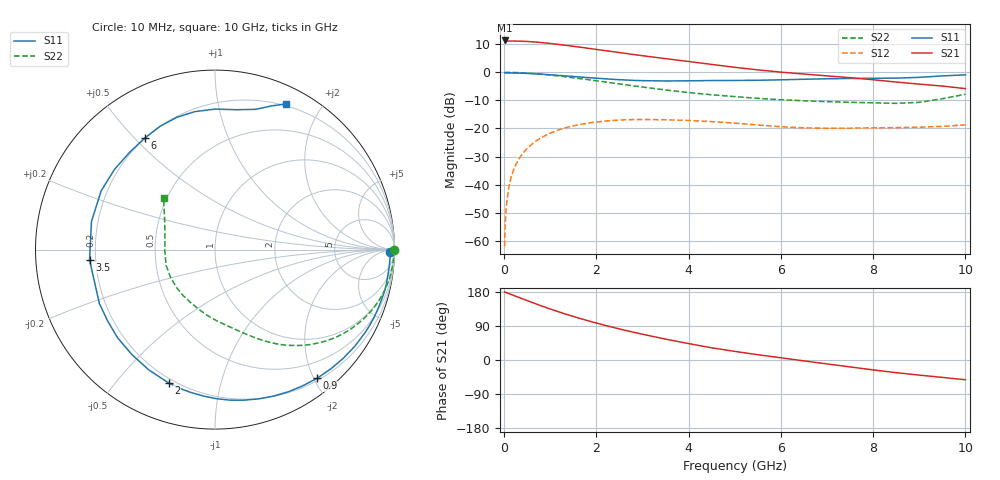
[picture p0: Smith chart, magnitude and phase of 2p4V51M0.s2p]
! (c) 2009  Infineon Technologies AG, Munich
! Infineon Technologies  Discrete & RF Semiconductors
! BFP420
! VCE =  4.5 V,  IC =  1.0 mA
! Common Emitter S-Parameters:  Nov 2009
# GHz  S  MA  R  50
!  f  S11  S21  S12  S22
! GHz  MAG  ANG  MAG  ANG  MAG  ANG  MAG  ANG
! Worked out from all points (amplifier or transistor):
!   46 points, 10 MHz to 10 GHz, reference 50 ohm
!   highest |S21| = 11.3 dB at 10 MHz (marker M1)
!   |S21| within 3 dB of that: start of sweep to 1.916 GHz
!   unconditionally stable (mu >= 1): 4.413 GHz to end of sweep
!   at 300 MHz: K = 0.04, MSG = 21.3 dB, |S12| = -31.5 dB
!   at 1.7 GHz: K = 0.25, MSG = 13.6 dB, |S12| = -18.4 dB
!   at 10 GHz: K = 1.35, MAG = 2.9 dB, |S12| = -18.7 dB
!   lowest NFmin = 0.53 dB at 900 MHz
!   S11 on the Smith chart (normalised r, x): 10 MHz: 59, -40; 900 MHz: 0.23, -2.05; 2 GHz: 0.18, -0.70; 3.5 GHz: 0.18, -0.04; 6 GHz: 0.20, +0.54; 10 GHz: 0.18, +1.58
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0.01  0.9771 -0.9  3.694 179.4  0.0008 33.8  0.9974 0.0
0.02  0.9736 -1.1  3.564 179.4  0.0018 72.7  0.9959 -0.5
0.05  0.9765 -2.9  3.587 177.6  0.0044 81.4  0.9963 -1.4
0.1  0.9754 -5.8  3.612 175.4  0.0089 84.0  0.996 -3.0
0.2  0.974 -11.5  3.612 170.8  0.0179 81.7  0.9924 -5.9
0.35  0.966 -20.1  3.59 163.8  0.0312 77.4  0.9828 -10.3
0.5  0.9559 -28.8  3.542 156.7  0.0441 72.5  0.9678 -14.6
0.7  0.9368 -40.3  3.456 147.6  0.0605 65.6  0.942 -20.2
0.9  0.915 -51.6  3.332 138.8  0.0754 59.1  0.9104 -25.5
1.3  0.8668 -73.6  3.05 122.5  0.101 46.8  0.8381 -35.2
1.7  0.8183 -94.5  2.769 107.7  0.1201 35.5  0.7617 -43.6
2  0.7862 -109.2  2.555 97.6  0.1303 27.8  0.7071 -49.1
2.6  0.7322 -137.8  2.191 79.0  0.1423 13.9  0.6049 -59.0
3  0.7108 -155.0  1.977 68.0  0.1445 5.9  0.547 -64.8
3.5  0.7014 -175.3  1.752 55.1  0.1429 -2.7  0.4845 -72.1
4  0.7058 167.2  1.559 43.3  0.1388 -9.6  0.4355 -79.7
4.5  0.7137 152.8  1.382 32.2  0.1324 -15.6  0.398 -88.3
5.5  0.7214 131.2  1.105 13.9  0.1154 -22.9  0.3438 -105.5
6  0.7349 122.0  1.008 5.8  0.1074 -23.7  0.3246 -114.9
7  0.7671 106.1  0.864 -10.4  0.1006 -21.8  0.3006 -135.6
8.5  0.7884 81.3  0.671 -33.4  0.1035 -20.5  0.2798 -178.5
10  0.9015 64.1  0.512 -52.1  0.1156 -18.6  0.4063 134.9
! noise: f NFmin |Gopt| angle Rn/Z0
0.9  0.53  0.67  34  0.35
1.8  1.15  0.44  77  0.27
2.4  1.28  0.44  100  0.22
3  1.61  0.45  131  0.15
4  1.9  0.47  -177  0.09
5  2.32  0.44  -133  0.45
6  3.43  0.6  -118  0.25
